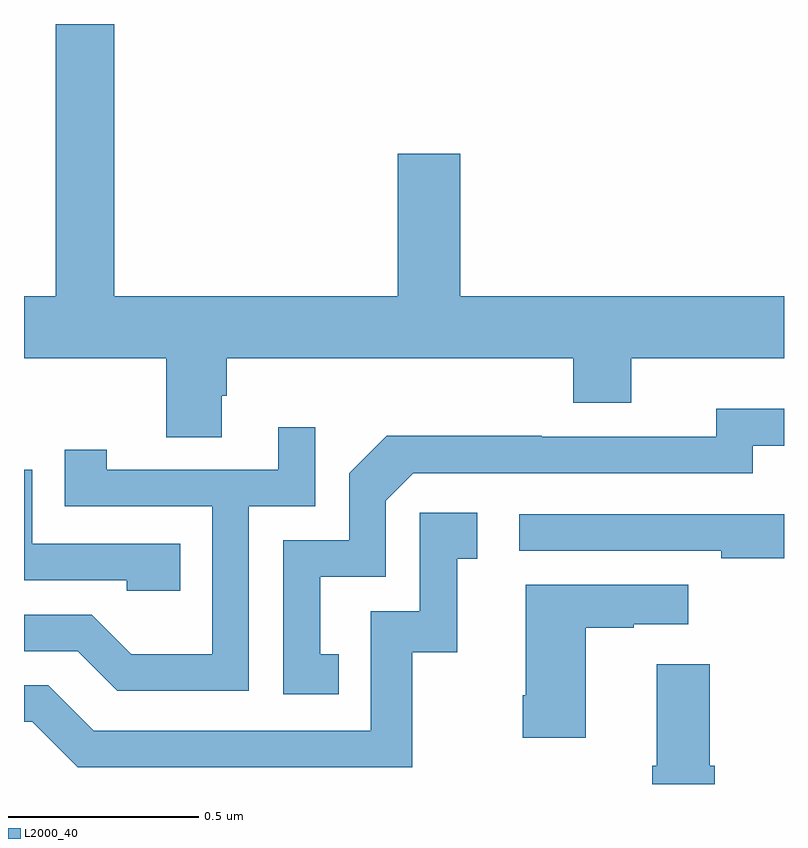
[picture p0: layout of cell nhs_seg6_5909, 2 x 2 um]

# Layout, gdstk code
import gdstk
lib = gdstk.Library(unit=1e-6, precision=1e-09)
def P(c, l, *ps):  # polygons
    for p in ps: c.add(gdstk.Polygon(p, *l))
L2000_40 = (2000, 40)

nhs_seg6_5909 = lib.new_cell('nhs_seg6_5909')
P(nhs_seg6_5909, L2000_40, [(188.521,996.522),(188.534,996.522),(188.534,996.62),(189.446,996.62),(189.446,996.503),(189.598,996.503),(189.598,996.62),(190,996.62),(190,996.784),(189.148,996.784),(189.148,997.159),(188.984,997.159),(188.984,996.784),(188.237,996.784),(188.237,997.5),(188.084,997.5),(188.084,996.784),(188,996.784),(188,996.62),(188.374,996.62),(188.374,996.412),(188.521,996.412)],
  [(188.828,995.841),(188.779,995.841),(188.779,996.045),(188.952,996.045),(188.952,996.246),(189.024,996.318),(189.918,996.318),(189.918,996.39),(190,996.39),(190,996.487),(189.822,996.487),(189.822,996.414),(189.362,996.414),(189.362,996.416),(188.954,996.416),(188.856,996.318),(188.856,996.141),(188.682,996.141),(188.682,995.736),(188.828,995.736)],
  [(188.592,996.231),(188.766,996.231),(188.766,996.439),(188.669,996.439),(188.669,996.327),(188.218,996.327),(188.218,996.379),(188.107,996.379),(188.107,996.231),(188.496,996.231),(188.496,995.842),(188.282,995.842),(188.178,995.946),(188,995.946),(188,995.85),(188.141,995.85),(188.246,995.745),(188.592,995.745)],
  [(188.411,996.132),(188.022,996.132),(188.022,996.327),(188,996.327),(188,996.036),(188.271,996.036),(188.271,996.009),(188.411,996.009)],
  [(189.022,995.847),(189.14,995.847),(189.14,996.093),(189.193,996.093),(189.193,996.214),(189.042,996.214),(189.042,995.955),(188.913,995.955),(188.913,995.64),(188.184,995.64),(188.064,995.76),(188,995.76),(188,995.664),(188.022,995.664),(188.142,995.544),(189.022,995.544)],
  [(190,996.21),(189.303,996.21),(189.303,996.114),(189.835,996.114),(189.835,996.094),(190,996.094)],
  [(189.478,995.911),(189.605,995.911),(189.605,995.921),(189.748,995.921),(189.748,996.025),(189.32,996.025),(189.32,995.734),(189.313,995.734),(189.313,995.622),(189.478,995.622)],
  [(189.818,995.548),(189.805,995.548),(189.805,995.815),(189.665,995.815),(189.665,995.548),(189.653,995.548),(189.653,995.5),(189.818,995.5)])

lib.write_gds('nhs_seg6_5909.gds')
